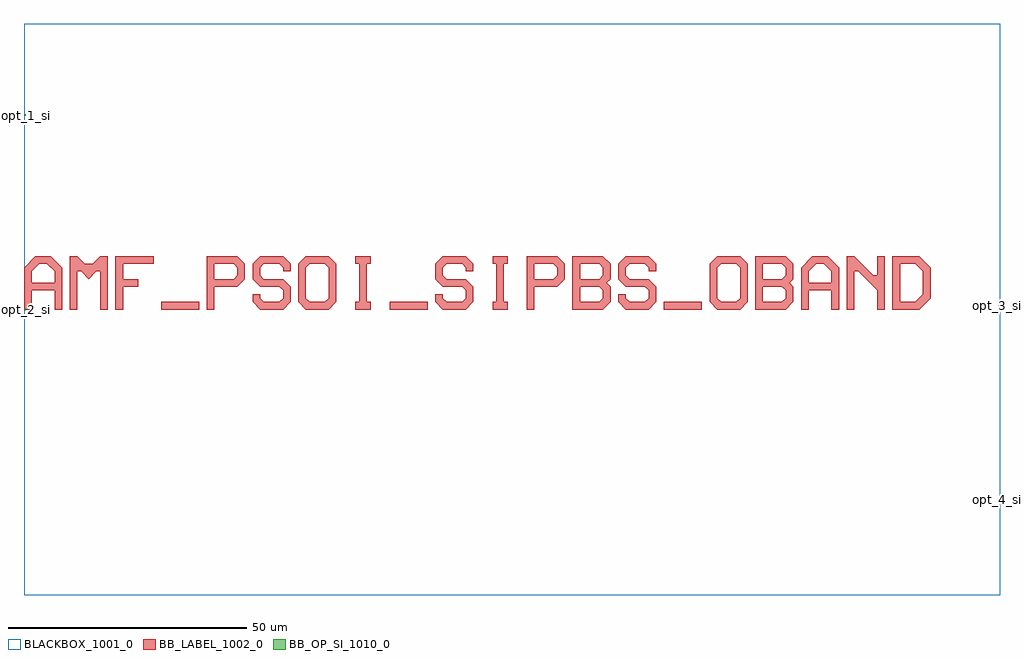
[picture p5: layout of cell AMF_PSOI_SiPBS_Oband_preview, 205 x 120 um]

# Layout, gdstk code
import gdstk
lib = gdstk.Library(unit=1e-6, precision=1e-09)
def R(c, l, rs):  # rectangles x0, y0, x1, y1
    for r in rs: c.add(gdstk.rectangle(r[:2], r[2:], *l))
def P(c, l, *ps):  # polygons
    for p in ps: c.add(gdstk.Polygon(p, *l))
BLACKBOX_1001_0 = (1001, 0)
BB_LABEL_1002_0 = (1002, 0)
BB_OP_SI_1010_0 = (1010, 0)

amf_psoi_sipbs_oband_pre = lib.new_cell('AMF_PSOI_SiPBS_Oband_preview')
R(amf_psoi_sipbs_oband_pre, BLACKBOX_1001_0, [(0,-60,205,60)])
R(amf_psoi_sipbs_oband_pre, BB_LABEL_1002_0, [(28.807,-0.005,36.807,1.595), (76.807,-0.005,84.807,1.595), (134.407,-0.005,142.407,1.595)])
P(amf_psoi_sipbs_oband_pre, BB_LABEL_1002_0, [(0.007,-0.005),(0.007,8.795),(2.407,11.195),(5.607,11.195),(7.207,9.595),(3.207,9.595),(1.607,7.995),(1.607,5.595),(6.407,5.595),(6.407,7.995),(4.807,9.595),(7.207,9.595),(8.007,8.795),(8.007,-0.005),(6.407,-0.005),(6.407,3.995),(1.607,3.995),(1.607,-0.005)],
  [(9.607,-0.005),(9.607,11.195),(11.207,11.195),(12.807,9.595),(14.407,9.595),(16.007,11.195),(17.607,11.195),(17.607,-0.005),(16.007,-0.005),(16.007,7.995),(15.207,7.995),(13.607,6.395),(12.007,7.995),(11.207,7.995),(11.207,-0.005)],
  [(19.207,-0.005),(19.207,11.195),(27.207,11.195),(27.207,9.595),(20.807,9.595),(20.807,6.395),(24.007,6.395),(24.007,4.795),(20.807,4.795),(20.807,-0.005)],
  [(38.407,-0.005),(38.407,11.195),(44.807,11.195),(46.407,9.595),(46.407,6.395),(44.807,4.795),(40.007,4.795),(40.007,6.395),(44.007,6.395),(44.807,7.195),(44.807,8.795),(44.007,9.595),(40.007,9.595),(40.007,-0.005)],
  [(49.607,-0.005),(48.007,1.595),(48.007,3.195),(49.607,3.195),(49.607,2.395),(50.407,1.595),(53.607,1.595),(54.407,2.395),(54.407,3.995),(53.607,4.795),(49.607,4.795),(48.007,6.395),(48.007,9.595),(49.607,11.195),(54.407,11.195),(56.007,9.595),(56.007,7.995),(54.407,7.995),(54.407,8.795),(53.607,9.595),(50.407,9.595),(49.607,8.795),(49.607,7.195),(50.407,6.395),(54.407,6.395),(56.007,4.795),(56.007,1.595),(54.407,-0.005)],
  [(59.207,-0.005),(57.607,1.595),(57.607,9.595),(59.207,11.195),(64.007,11.195),(65.607,9.595),(65.607,5.595),(64.007,5.595),(64.007,8.795),(63.207,9.595),(60.007,9.595),(59.207,8.795),(59.207,2.395),(60.007,1.595),(63.207,1.595),(64.007,2.395),(64.007,5.595),(65.607,5.595),(65.607,1.595),(64.007,-0.005)],
  [(69.607,-0.005),(69.607,1.595),(70.407,1.595),(70.407,9.595),(69.607,9.595),(69.607,11.195),(72.807,11.195),(72.807,9.595),(72.007,9.595),(72.007,1.595),(72.807,1.595),(72.807,-0.005)],
  [(88.007,-0.005),(86.407,1.595),(86.407,3.195),(88.007,3.195),(88.007,2.395),(88.807,1.595),(92.007,1.595),(92.807,2.395),(92.807,3.995),(92.007,4.795),(88.007,4.795),(86.407,6.395),(86.407,9.595),(88.007,11.195),(92.807,11.195),(94.407,9.595),(94.407,7.995),(92.807,7.995),(92.807,8.795),(92.007,9.595),(88.807,9.595),(88.007,8.795),(88.007,7.195),(88.807,6.395),(92.807,6.395),(94.407,4.795),(94.407,1.595),(92.807,-0.005)],
  [(98.407,-0.005),(98.407,1.595),(99.207,1.595),(99.207,9.595),(98.407,9.595),(98.407,11.195),(101.607,11.195),(101.607,9.595),(100.807,9.595),(100.807,1.595),(101.607,1.595),(101.607,-0.005)],
  [(105.607,-0.005),(105.607,11.195),(112.007,11.195),(113.607,9.595),(113.607,6.395),(112.007,4.795),(107.207,4.795),(107.207,6.395),(111.207,6.395),(112.007,7.195),(112.007,8.795),(111.207,9.595),(107.207,9.595),(107.207,-0.005)],
  [(115.207,-0.005),(115.207,11.195),(121.607,11.195),(123.207,9.595),(116.807,9.595),(116.807,6.395),(120.807,6.395),(121.607,7.195),(121.607,8.795),(120.807,9.595),(123.207,9.595),(123.207,6.395),(122.407,5.595),(123.207,4.795),(116.807,4.795),(116.807,1.595),(120.807,1.595),(121.607,2.395),(121.607,3.995),(120.807,4.795),(123.207,4.795),(123.207,1.595),(121.607,-0.005)],
  [(126.407,-0.005),(124.807,1.595),(124.807,3.195),(126.407,3.195),(126.407,2.395),(127.207,1.595),(130.407,1.595),(131.207,2.395),(131.207,3.995),(130.407,4.795),(126.407,4.795),(124.807,6.395),(124.807,9.595),(126.407,11.195),(131.207,11.195),(132.807,9.595),(132.807,7.995),(131.207,7.995),(131.207,8.795),(130.407,9.595),(127.207,9.595),(126.407,8.795),(126.407,7.195),(127.207,6.395),(131.207,6.395),(132.807,4.795),(132.807,1.595),(131.207,-0.005)],
  [(145.607,-0.005),(144.007,1.595),(144.007,9.595),(145.607,11.195),(150.407,11.195),(152.007,9.595),(152.007,5.595),(150.407,5.595),(150.407,8.795),(149.607,9.595),(146.407,9.595),(145.607,8.795),(145.607,2.395),(146.407,1.595),(149.607,1.595),(150.407,2.395),(150.407,5.595),(152.007,5.595),(152.007,1.595),(150.407,-0.005)],
  [(153.607,-0.005),(153.607,11.195),(160.007,11.195),(161.607,9.595),(155.207,9.595),(155.207,6.395),(159.207,6.395),(160.007,7.195),(160.007,8.795),(159.207,9.595),(161.607,9.595),(161.607,6.395),(160.807,5.595),(161.607,4.795),(155.207,4.795),(155.207,1.595),(159.207,1.595),(160.007,2.395),(160.007,3.995),(159.207,4.795),(161.607,4.795),(161.607,1.595),(160.007,-0.005)],
  [(163.207,-0.005),(163.207,8.795),(165.607,11.195),(168.807,11.195),(170.407,9.595),(166.407,9.595),(164.807,7.995),(164.807,5.595),(169.607,5.595),(169.607,7.995),(168.007,9.595),(170.407,9.595),(171.207,8.795),(171.207,-0.005),(169.607,-0.005),(169.607,3.995),(164.807,3.995),(164.807,-0.005)],
  [(172.807,-0.005),(172.807,11.195),(174.407,11.195),(178.407,7.195),(179.207,7.195),(179.207,11.195),(180.807,11.195),(180.807,-0.005),(179.207,-0.005),(179.207,3.995),(175.207,7.995),(174.407,7.995),(174.407,-0.005)],
  [(182.407,-0.005),(182.407,11.195),(188.007,11.195),(189.607,9.595),(184.007,9.595),(184.007,1.595),(187.207,1.595),(188.807,3.195),(188.807,7.995),(187.207,9.595),(189.607,9.595),(190.407,8.795),(190.407,2.395),(188.007,-0.005)])
R(amf_psoi_sipbs_oband_pre, BB_OP_SI_1010_0, [(204.59,-40.205,205,-39.795), (0,-0.205,0.41,0.205), (204.59,0.645,205,1.055), (0,40.645,0.41,41.055)])
amf_psoi_sipbs_oband_pre.add(gdstk.Label('opt_1_si', (0,40.85), layer=1010, texttype=0))
amf_psoi_sipbs_oband_pre.add(gdstk.Label('opt_2_si', (0,0), layer=1010, texttype=0))
amf_psoi_sipbs_oband_pre.add(gdstk.Label('opt_3_si', (205,0.85), layer=1010, texttype=0))
amf_psoi_sipbs_oband_pre.add(gdstk.Label('opt_4_si', (205,-40), layer=1010, texttype=0))

lib.write_gds('AMF_PSOI_SiPBS_Oband_preview.gds')
